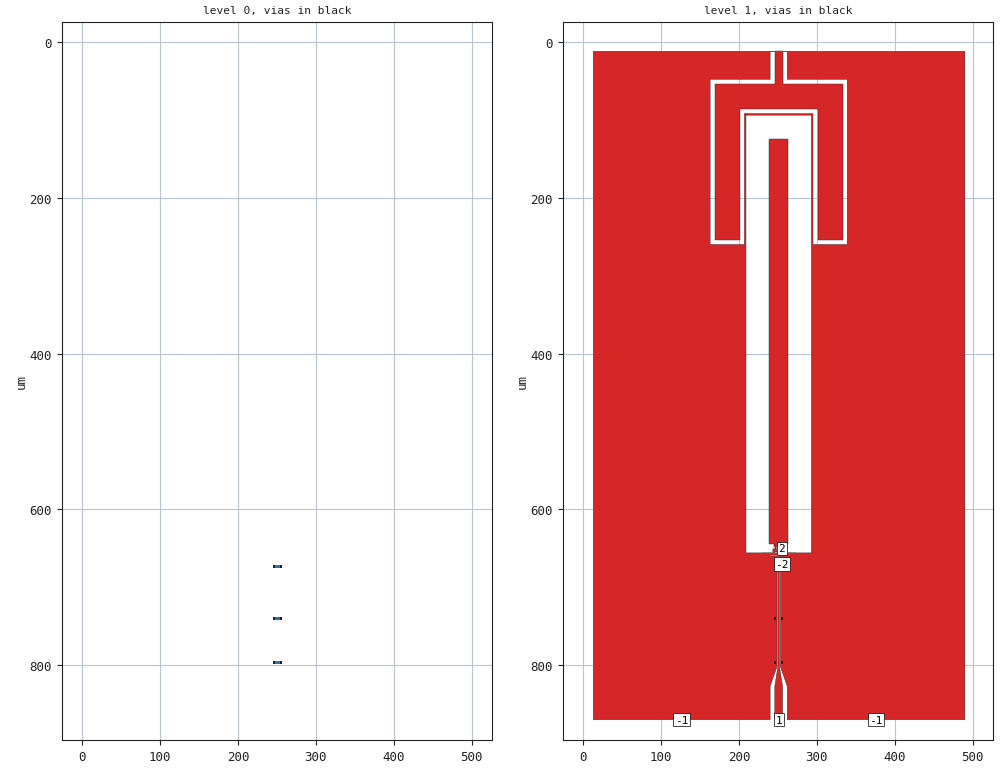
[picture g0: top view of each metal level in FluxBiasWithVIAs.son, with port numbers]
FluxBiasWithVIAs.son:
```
FTYP SONPROJ 15 ! Sonnet Project File
VER 16.52
HEADER
LIC calt2.2.43068 b6ae2bd1257f DESKTOP-SL82IK9 Michael
DAT 07/15/2016 19:35:41
BUILT_BY_CREATED xgeom 16.52 04/11/2016 14:48:12
BUILT_BY_SAVED xgeom 16.52
MDATE 07/15/2016 19:35:41
HDATE 07/15/2016 19:35:41
END HEADER
DIM
FREQ GHZ
IND NH
LNG UM
ANG DEG
CON /OH
CAP PF
RES OH
END DIM
FREQ
ABS 5.0 26.0 
STEP 0.1
END FREQ
CONTROL
STD
OPTIONS  -dj 
SPEED 0
CACHE_ABS 1
TARG_ABS 300
Q_ACC N
END CONTROL
GEO
DRP1 RIGHT FIX 100
TMET "Lossless" 0 SUP 0 0 0 0
BMET "Lossless" 0 SUP 0 0 0 0
MET "Unknown_metal" 1 NOR INF 0 0 
BOX 2 500 870 1000 1740 20 0
      1000 1 1 0 0 0 0 "Unnamed"
      2 1 1 0 0 0 0 "Unnamed"
      500 11.9 1 5e-006 0 0 0 "Silicon (intrinsic)"
LORGN 0 870 U 
POR1 CUP A
POLY 1195 1
12
2 50 0 0 0 255 650 
POR1 STD
POLY 1196 1
71
-1 50 0 0 0 126.5 870.0002108 
POR1 STD
POLY 1196 1
912
-1 50 0 0 0 376 870.0002108 
POR1 STD
POLY 1196 1
493
1 50 0 0 0 251 870.0002108 
POR1 CUP A
POLY 1196 1
29
-2 50 0 0 0 255.1650073 650.7499731 
CUPGRP "A"
ID 1202
GNDREF B
TWTYPE FEED
END
NUM 14
0 5 -1 N 1209 1 1 100 100 0 0 0 Y
245 671.79
256.8 671.79
256.8 675
245 675
245 671.79
END
0 5 -1 N 1210 1 1 100 100 0 0 0 Y
245 794.79
256.8 794.79
256.8 798
245 798
245 794.79
END
0 5 -1 N 1215 1 1 100 100 0 0 0 Y
245 738.79
256.8 738.79
256.8 742
245 742
245 738.79
END
1 5 -1 N 1169 1 1 100 100 0 0 0 Y
246.22 649.85
247 649.85
247 651
246.22 651
246.22 649.85
END
1 33 -1 N 1174 1 1 100 100 0 0 0 Y
333 54
256 54
256 49.92
256 45.84
256 41.75
256 37.67
256 33.59
256 29.51
256 25.43
256 21.35
256 17.26
256 13.18
256 12
246 12
246 13.18
246 17.26
246 21.35
246 25.43
246 29.51
246 33.59
246 37.67
246 41.75
246 45.84
246 49.92
246 54
169 54
169 254
201 254
201 86
301 86
301 254
333 254
333 54
END
1 5 -1 N 1186 1 1 100 100 0 0 0 Y
240 12
262 12
262 13.18
240 13.18
240 12
END
1 38 -1 N 1195 1 1 100 100 0 0 0 Y
247.33 650.35
247.78 650.35
247.78 648.5
250 648.5
250 644.85
250 644
252 644
252 644.85
252 648.5
254.97 648.5
254.97 649.35
254.22 649.35
254.22 650
255.78 650
255.78 648.5
256.52 648.5
256.52 644.85
254 644.85
254 644
263 644
263 124
239 124
239 644
248 644
248 644.85
245.49 644.85
245.49 645.5
245.49 648.5
246.97 648.5
246.97 649.35
246.22 649.35
246.22 650.35
246.62 650.35
246.62 650.4
246.62 650.43
246.62 650.75
247.33 650.75
247.33 650.35
END
1 915 -1 N 1196 1 1 100 100 0 0 0 Y
490 12
262 12
262 13.18
262 17.26
262 21.35
262 25.43
262 29.51
262 33.59
262 37.67
262 41.75
262 45.84
262 48
339 48
339 260
295 260
295 92
209 92
209 94
293 94
293 655.9
273.07 655.9
273.07 655.75
258 655.75
258 654.4
258.52 654.4
258.52 650.75
255.33 650.75
255.33 650.7499898
255.3300768 650.7499898
255.3300768 650.7499731
254.9999378 650.7499731
254.9999378 650.7499731
254.6200264 650.7499731
254.6200264 650.7499898
254.6200264 650.7499898
254.6200264 650.75
253.49 650.75
253.49 651.4
253.48 654.4
256 654.4
256 655.9
246 655.9
246 654.4
248.52 654.4
248.52 650.75
243.49 650.75
243.49 651.4
243.49 654.4
244 654.4
244 655.75
229.3 655.75
229.3 655.9
209 655.9
209 94
209 92
207 92
207 260
163 260
163 48
240 48
240 45.84
240 41.75
240 37.67
240 33.59
240 29.51
240 25.43
240 21.35
240 17.26
240 13.18
240 12
13 12
13 870.0002108
240 870.0002108
240 867.82
240 863.73
240 859.65
240 855.57
240 851.49
240 847.41
240 843.33
240 839.24
240 835.16
240 831.08
240 827
240.09 826.74
240.18 826.49
240.27 826.24
240.36 825.98
240.45 825.72
240.54 825.47
240.63 825.21
240.72 824.96
240.81 824.7
240.9 824.45
240.99 824.19
241.08 823.94
241.17 823.68
241.26 823.43
241.35 823.17
241.44 822.92
241.53 822.66
241.62 822.41
241.71 822.15
241.8 821.9
241.89 821.64
241.98 821.39
242.07 821.13
242.16 820.88
242.25 820.62
242.34 820.37
242.43 820.11
242.51 819.86
242.61 819.6
242.69 819.35
242.79 819.09
242.87 818.84
242.96 818.58
243.05 818.33
243.14 818.07
243.23 817.82
243.32 817.56
243.41 817.31
243.5 817.05
243.59 816.8
243.68 816.54
243.77 816.29
243.86 816.03
243.95 815.78
244.04 815.52
244.13 815.26
244.22 815.01
244.31 814.75
244.4 814.5
244.49 814.24
244.58 813.99
244.67 813.73
244.76 813.48
244.85 813.22
244.94 812.97
245.03 812.71
245.12 812.46
245.21 812.2
245.3 811.95
245.39 811.69
245.48 811.44
245.57 811.18
245.66 810.93
245.75 810.67
245.84 810.42
245.93 810.16
246.02 809.91
246.11 809.65
246.2 809.4
246.29 809.14
246.38 808.89
246.47 808.63
246.56 808.38
246.65 808.12
246.74 807.87
246.83 807.61
246.92 807.36
247 807.1
247.1 806.85
247.19 806.59
247.27 806.34
247.36 806.08
247.45 805.83
247.54 805.57
247.63 805.32
247.72 805.06
247.81 804.81
247.9 804.55
247.99 804.3
248.08 804.04
248.17 803.79
248.26 803.53
248.35 803.28
248.44 803.02
248.53 802.77
248.62 802.51
248.71 802.26
248.8 802
248.8 800.58
248.8 799.17
248.8 797.75
248.8 796.34
248.8 794.92
248.8 793.51
248.8 792.09
248.8 790.68
248.8 789.26
248.8 787.85
248.8 786.43
248.8 785.02
248.8 783.6
248.8 782.19
248.8 780.77
248.8 779.35
248.8 777.94
248.8 776.52
248.8 775.11
248.8 773.69
248.8 772.28
248.8 770.86
248.8 769.45
248.8 768.03
248.8 766.62
248.8 765.2
248.8 763.79
248.8 762.37
248.8 760.96
248.8 759.54
248.8 758.13
248.8 756.71
248.8 755.3
248.8 753.88
248.8 752.46
248.8 751.05
248.8 749.63
248.8 748.22
248.8 746.8
248.8 745.39
248.8 743.97
248.8 742.56
248.8 741.14
248.8 739.73
248.8 738.31
248.8 736.9
248.8 735.48
248.8 734.07
248.8 732.65
248.8 731.24
248.8 729.82
248.8 728.4
248.8 726.99
248.8 725.57
248.8 724.16
248.8 722.74
248.8 721.33
248.8 719.91
248.8 718.5
248.8 717.08
248.8 715.67
248.8 714.25
248.8 712.84
248.8 711.42
248.8 710
248.8 708.59
248.8 707.17
248.8 705.76
248.8 704.34
248.8 702.93
248.8 701.51
248.8 700.1
248.8 698.68
248.8 697.27
248.8 695.85
248.8 694.44
248.8 693.02
248.8 691.61
248.8 690.19
248.8 688.78
248.8 687.36
248.8 685.95
248.8 684.53
248.8 683.11
248.8 681.7
248.8 680.28
248.8 678.87
248.8 677.45
248.8 676.04
248.8 674.62
248.8 673.21
248.8 671.79
248.8 670.38
248.8 668.96
248.8 667.55
248.8 666.13
248.8 664.71
248.8 663.3
248.8 660.1
238.8 660.1
238.8 658.9
258.2 658.9
258.2 660.1
250 660.1
250 663.3
250 664.72
250 666.13
250 667.55
250 668.96
250 670.38
250 671.79
250 673.21
250 674.62
250 676.04
250 677.45
250 678.87
250 680.28
250 681.7
250 683.11
250 684.53
250 685.94
250 687.36
250 688.78
250 690.19
250 691.61
250 693.02
250 694.44
250 695.85
250 697.27
250 698.68
250 700.1
250 701.51
250 702.93
250 704.34
250 705.76
250 707.17
250 708.59
250 710
250 711.42
250 712.84
250 714.25
250 715.67
250 717.08
250 718.5
250 719.91
250 721.33
250 722.74
250 724.16
250 725.57
250 726.99
250 728.4
250 729.82
250 731.23
250 732.65
250 734.06
250 735.48
250 736.9
250 738.31
250 739.73
250 741.14
250 742.56
250 743.97
250 745.39
250 746.8
250 748.22
250 749.63
250 751.05
250 752.46
250 753.88
250 755.3
250 756.71
250 758.13
250 759.54
250 760.96
250 762.37
250 763.79
250 765.2
250 766.62
250 768.03
250 769.45
250 770.86
250 772.28
250 773.69
250 775.11
250 776.52
250 777.94
250 779.35
250 780.77
250 782.19
250 783.6
250 785.02
250 786.43
250 787.85
250 789.26
250 790.68
250 792.09
250 793.51
250 794.92
250 796.34
250 797.75
250 799.17
250 800.59
250 802
249.96 802.25
249.92 802.51
249.88 802.76
249.84 803.02
249.8 803.28
249.76 803.53
249.72 803.79
249.67 804.04
249.63 804.3
249.59 804.55
249.55 804.81
249.51 805.06
249.47 805.32
249.43 805.57
249.39 805.83
249.35 806.08
249.31 806.34
249.27 806.59
249.23 806.85
249.18 807.1
249.14 807.36
249.1 807.61
249.06 807.87
249.02 808.12
248.98 808.38
248.94 808.63
248.9 808.89
248.86 809.14
248.82 809.4
248.78 809.65
248.74 809.91
248.69 810.16
248.65 810.42
248.61 810.67
248.57 810.93
248.53 811.18
248.49 811.44
248.45 811.69
248.41 811.95
248.37 812.2
248.33 812.46
248.29 812.71
248.25 812.97
248.2 813.22
248.16 813.48
248.12 813.73
248.08 813.99
248.04 814.24
248 814.5
247.96 814.75
247.92 815.01
247.88 815.27
247.84 815.52
247.8 815.78
247.76 816.03
247.72 816.29
247.67 816.54
247.63 816.8
247.59 817.05
247.55 817.31
247.51 817.56
247.47 817.82
247.43 818.07
247.39 818.33
247.35 818.58
247.31 818.84
247.27 819.09
247.23 819.35
247.18 819.6
247.14 819.86
247.1 820.11
247.06 820.37
247.02 820.62
246.98 820.88
246.94 821.13
246.9 821.39
246.86 821.64
246.82 821.9
246.78 822.15
246.74 822.41
246.69 822.66
246.65 822.92
246.61 823.17
246.57 823.43
246.53 823.68
246.49 823.94
246.45 824.19
246.41 824.45
246.37 824.7
246.33 824.96
246.29 825.21
246.25 825.47
246.2 825.72
246.16 825.98
246.12 826.23
246.08 826.49
246.04 826.74
246 827
246 831.08
246 835.16
246 839.25
246 843.33
246 847.41
246 851.49
246 855.57
246 859.65
246 863.73
246 867.82
246 870.0002108
256 870.0002108
256 867.82
256 863.73
256 859.65
256 855.57
256 851.49
256 847.41
256 843.33
256 839.24
256 835.16
256 831.08
256 827
255.96 826.74
255.92 826.49
255.88 826.23
255.84 825.98
255.8 825.72
255.76 825.47
255.72 825.21
255.67 824.96
255.63 824.7
255.59 824.45
255.55 824.19
255.51 823.94
255.47 823.68
255.43 823.43
255.39 823.17
255.35 822.92
255.31 822.66
255.27 822.41
255.22 822.15
255.18 821.9
255.14 821.64
255.1 821.39
255.06 821.13
255.02 820.88
254.98 820.62
254.94 820.37
254.9 820.11
254.86 819.86
254.82 819.6
254.78 819.35
254.74 819.09
254.69 818.84
254.65 818.58
254.61 818.33
254.57 818.07
254.53 817.82
254.49 817.56
254.45 817.31
254.41 817.05
254.37 816.8
254.33 816.54
254.29 816.29
254.25 816.03
254.2 815.78
254.16 815.52
254.12 815.26
254.08 815.01
254.04 814.75
254 814.5
253.96 814.24
253.92 813.99
253.88 813.73
253.84 813.48
253.8 813.22
253.76 812.97
253.72 812.71
253.67 812.46
253.63 812.2
253.59 811.95
253.55 811.69
253.51 811.44
253.47 811.18
253.43 810.93
253.39 810.67
253.35 810.42
253.31 810.16
253.27 809.91
253.23 809.65
253.18 809.4
253.14 809.14
253.1 808.89
253.06 808.63
253.02 808.38
252.98 808.12
252.94 807.87
252.9 807.61
252.86 807.36
252.82 807.1
252.78 806.85
252.74 806.59
252.69 806.34
252.65 806.08
252.61 805.83
252.57 805.57
252.53 805.32
252.49 805.06
252.45 804.81
252.41 804.55
252.37 804.3
252.33 804.04
252.29 803.79
252.25 803.53
252.2 803.28
252.16 803.02
252.12 802.76
252.08 802.51
252.04 802.26
252 802
252 800.58
252 799.17
252 797.75
252 796.34
252 794.92
252 793.51
252 792.09
252 790.68
252 789.26
252 787.85
252 786.43
252 785.02
252 783.6
252 782.19
252 780.77
252 779.35
252 777.94
252 776.52
252 775.11
252 773.69
252 772.28
252 770.86
252 769.45
252 768.03
252 766.62
252 765.2
252 763.79
252 762.37
252 760.96
252 759.54
252 758.13
252 756.71
252 755.29
252 753.88
252 752.46
252 751.05
252 749.63
252 748.22
252 746.8
252 745.39
252 743.97
252 742.56
252 741.14
252 739.73
252 738.31
252 736.9
252 735.48
252 734.07
252 732.65
252 731.23
252 729.82
252 728.4
252 726.99
252 725.57
252 724.16
252 722.74
252 721.33
252 719.91
252 718.5
252 717.08
252 715.67
252 714.25
252 712.84
252 711.42
252 710
252 708.59
252 707.17
252 705.76
252 704.34
252 702.93
252 701.51
252 700.1
252 698.68
252 697.27
252 695.85
252 694.44
252 693.02
252 691.61
252 690.19
252 688.78
252 687.36
252 685.94
252 684.53
252 683.11
252 681.7
252 680.28
252 678.87
252 677.45
252 676.04
252 674.62
252 673.21
252 671.79
252 670.38
252 668.96
252 667.55
252 666.13
252 664.71
252 663.3
252 662.1
255.2 662.1
255.2 663.3
253.2 663.3
253.2 664.71
253.2 666.13
253.2 667.55
253.2 668.96
253.2 670.38
253.2 671.79
253.2 673.21
253.2 674.62
253.2 676.04
253.2 677.45
253.2 678.87
253.2 680.28
253.2 681.7
253.2 683.11
253.2 684.53
253.2 685.94
253.2 687.36
253.2 688.78
253.2 690.19
253.2 691.61
253.2 693.02
253.2 694.44
253.2 695.85
253.2 697.27
253.2 698.68
253.2 700.1
253.2 701.51
253.2 702.93
253.2 704.34
253.2 705.76
253.2 707.17
253.2 708.59
253.2 710
253.2 711.42
253.2 712.84
253.2 714.25
253.2 715.67
253.2 717.08
253.2 718.5
253.2 719.91
253.2 721.33
253.2 722.74
253.2 724.16
253.2 725.57
253.2 726.99
253.2 728.4
253.2 729.82
253.2 731.24
253.2 732.65
253.2 734.06
253.2 735.48
253.2 736.9
253.2 738.31
253.2 739.73
253.2 741.14
253.2 742.56
253.2 743.97
253.2 745.39
253.2 746.8
253.2 748.22
253.2 749.63
253.2 751.05
253.2 752.46
253.2 753.88
253.2 755.3
253.2 756.71
253.2 758.13
253.2 759.54
253.2 760.96
253.2 762.37
253.2 763.79
253.2 765.2
253.2 766.62
253.2 768.03
253.2 769.45
253.2 770.86
253.2 772.28
253.2 773.69
253.2 775.11
253.2 776.52
253.2 777.94
253.2 779.35
253.2 780.77
253.2 782.19
253.2 783.6
253.2 785.02
253.2 786.43
253.2 787.85
253.2 789.26
253.2 790.68
253.2 792.09
253.2 793.51
253.2 794.92
253.2 796.34
253.2 797.75
253.2 799.17
253.2 800.59
253.2 802
253.29 802.25
253.38 802.51
253.47 802.76
253.56 803.02
253.65 803.28
253.74 803.53
253.83 803.79
253.92 804.04
254.01 804.3
254.1 804.55
254.19 804.81
254.28 805.06
254.37 805.32
254.46 805.57
254.55 805.83
254.64 806.08
254.73 806.34
254.82 806.59
254.91 806.85
255 807.1
255.09 807.36
255.18 807.61
255.27 807.87
255.36 808.12
255.45 808.38
255.54 808.63
255.63 808.89
255.72 809.14
255.81 809.4
255.89 809.65
255.98 809.91
256.07 810.16
256.16 810.42
256.25 810.67
256.34 810.93
256.43 811.18
256.52 811.44
256.61 811.69
256.7 811.95
256.79 812.2
256.88 812.46
256.97 812.71
257.06 812.97
257.15 813.22
257.24 813.48
257.33 813.73
257.42 813.99
257.51 814.24
257.6 814.5
257.69 814.75
257.78 815.01
257.87 815.26
257.96 815.52
258.05 815.78
258.14 816.03
258.23 816.29
258.32 816.54
258.41 816.8
258.5 817.05
258.59 817.31
258.68 817.56
258.77 817.82
258.86 818.07
258.95 818.33
259.04 818.58
259.13 818.84
259.22 819.09
259.31 819.35
259.4 819.6
259.49 819.86
259.58 820.11
259.67 820.37
259.76 820.62
259.85 820.88
259.94 821.13
260.02 821.39
260.12 821.64
260.2 821.9
260.3 822.15
260.39 822.41
260.47 822.66
260.56 822.92
260.65 823.17
260.74 823.43
260.83 823.68
260.92 823.94
261.01 824.19
261.1 824.45
261.19 824.7
261.28 824.96
261.37 825.21
261.46 825.47
261.55 825.72
261.64 825.98
261.73 826.23
261.82 826.49
261.91 826.74
262 827
262 831.08
262 835.16
262 839.24
262 843.33
262 847.41
262 851.49
262 855.57
262 859.65
262 863.74
262 867.82
262 870.0002108
490 870.0002108
490 12
END
VIA POLYGON
1 5 -1 N 1206 1 1 100 100 0 0 0 Y
TOLEVEL 0 RING NOCOVERS
245 671.79
247.8 671.79
247.8 675
245 675
245 671.79
END
VIA POLYGON
1 5 -1 N 1208 1 1 100 100 0 0 0 Y
TOLEVEL 0 RING NOCOVERS
254 671.79
256.8 671.79
256.8 675
254 675
254 671.79
END
VIA POLYGON
1 5 -1 N 1212 1 1 100 100 0 0 0 Y
TOLEVEL 0 RING NOCOVERS
245 794.79
247.8 794.79
247.8 798
245 798
245 794.79
END
VIA POLYGON
1 5 -1 N 1214 1 1 100 100 0 0 0 Y
TOLEVEL 0 RING NOCOVERS
254 794.79
256.8 794.79
256.8 798
254 798
254 794.79
END
VIA POLYGON
1 5 -1 N 1217 1 1 100 100 0 0 0 Y
TOLEVEL 0 RING NOCOVERS
245 738.79
247.8 738.79
247.8 742
245 742
245 738.79
END
VIA POLYGON
1 5 -1 N 1219 1 1 100 100 0 0 0 Y
TOLEVEL 0 RING NOCOVERS
254 738.79
256.8 738.79
256.8 742
254 742
254 738.79
END
END GEO
OPT
MAX 100
VARS
END
END OPT
VARSWP
END VARSWP
```
